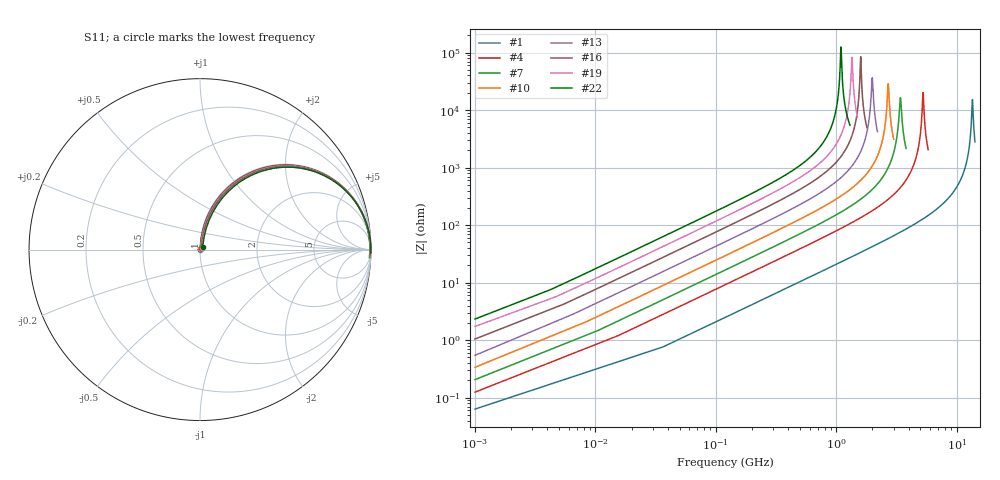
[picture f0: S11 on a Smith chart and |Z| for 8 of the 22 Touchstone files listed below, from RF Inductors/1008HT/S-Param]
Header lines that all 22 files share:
! 16 July 2002
# MHZ S MA R 50
!Freq  MagS11  AngS11  MagS21  AngS21  MagS12  AngS12  MagS22  AngS22
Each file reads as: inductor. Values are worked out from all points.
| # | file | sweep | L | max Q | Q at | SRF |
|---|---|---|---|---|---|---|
| 1 | 10HT3N3.S2P | 1 MHz to 14.2 GHz | 3.3 nH | 111 | 4.675 GHz | 13.49 GHz |
| 2 | 10HT6N8.S2P | 1 MHz to 8.9 GHz | 6.8 nH | 94.1 | 2.997 GHz | 8.455 GHz |
| 3 | 10HT7N2.S2P | 1 MHz to 7.5 GHz | 7.2 nH | 87.9 | 2.432 GHz | 7.126 GHz |
| 4 | 10HT12N.S2P | 1 MHz to 5.8 GHz | 12.2 nH | 90.9 | 1.852 GHz | 5.25 GHz |
| 5 | 10HT15N.S2P | 1 MHz to 4.3 GHz | 15 nH | 75.1 | 1.298 GHz | 3.892 GHz |
| 6 | 10HT18N.S2P | 1 MHz to 5.1 GHz | 18 nH | 106 | 1.782 GHz | 5.013 GHz |
| 7 | 10HT22N.S2P | 1 MHz to 3.8 GHz | 22 nH | 84 | 1.128 GHz | 3.41 GHz |
| 8 | 10HT27N.S2P | 1 MHz to 4.2 GHz | 27 nH | 89.1 | 1.257 GHz | 3.791 GHz |
| 9 | 10HT33N.S2P | 1 MHz to 3 GHz | 33 nH | 92.8 | 906.1 MHz | 2.641 GHz |
| 10 | 10HT39N.S2P | 1 MHz to 3 GHz | 39 nH | 91.8 | 928.5 MHz | 2.701 GHz |
| 11 | 10HT47N.S2P | 1 MHz to 2.3 GHz | 47 nH | 79.6 | 723 MHz | 2.047 GHz |
| 12 | 10HT56N.S2P | 1 MHz to 2.4 GHz | 56 nH | 85.8 | 796.3 MHz | 2.166 GHz |
| 13 | 10HT68N.S2P | 1 MHz to 2.2 GHz | 68 nH | 80.3 | 702.4 MHz | 1.99 GHz |
| 14 | 10HT82N.S2P | 1 MHz to 2 GHz | 82 nH | 74.4 | 704.6 MHz | 1.812 GHz |
| 15 | 10HTR10.S2P | 1 MHz to 2 GHz | 100 nH | 74.5 | 709.6 MHz | 1.733 GHz |
| 16 | 10HTR12.S2P | 1 MHz to 1.8 GHz | 120 nH | 79.4 | 643.1 MHz | 1.59 GHz |
| 17 | 10HTR14.S2P | 1 MHz to 1.7 GHz | 140 nH | 75 | 594.6 MHz | 1.493 GHz |
| 18 | 10HTR15.S2P | 1 MHz to 1.5 GHz | 150 nH | 70.7 | 524.6 MHz | 1.31 GHz |
| 19 | 10HTR18.S2P | 1 MHz to 1.5 GHz | 185 nH | 71.8 | 532.1 MHz | 1.351 GHz |
| 20 | 10HTR22.S2P | 1 MHz to 1.3 GHz | 225 nH | 91.2 | 461.1 MHz | 1.164 GHz |
| 21 | 10HTR24.S2P | 1 MHz to 1.3 GHz | 245 nH | 84 | 441.6 MHz | 1.151 GHz |
| 22 | 10HTR27.S2P | 1 MHz to 1.3 GHz | 275 nH | 81 | 444.9 MHz | 1.093 GHz |
